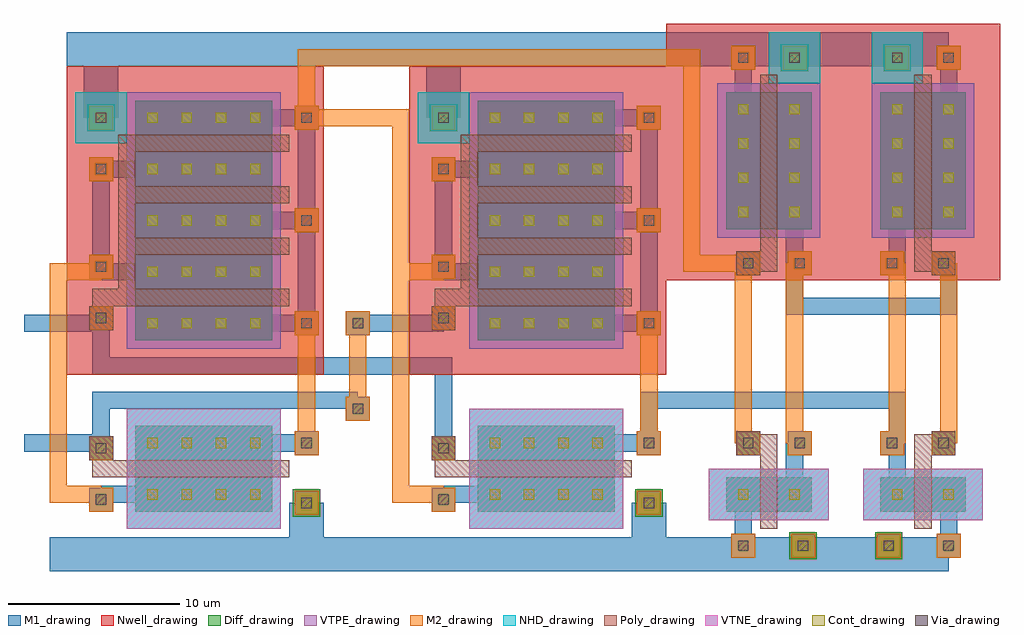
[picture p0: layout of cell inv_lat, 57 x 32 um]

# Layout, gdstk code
from math import pi, radians
import gdstk
lib = gdstk.Library(unit=1e-6, precision=1e-09)
def R(c, l, rs):  # rectangles x0, y0, x1, y1
    for r in rs: c.add(gdstk.rectangle(r[:2], r[2:], *l))
Poly_drawing = (4, 0)
Cont_drawing = (5, 0)
M1_drawing = (6, 0)
Via_drawing = (9, 0)
M2_drawing = (10, 0)
Nwell_drawing = (11, 0)
Diff_drawing = (20, 0)
VTNE_drawing = (30, 0)
VTPE_drawing = (31, 0)
NHD_drawing = (45, 0)

via = lib.new_cell('Via')
R(via, M1_drawing, [(-0.7,-0.7,0.7,0.7)])
R(via, Via_drawing, [(-0.3,-0.3,0.3,0.3)])
R(via, M2_drawing, [(-0.7,-0.7,0.7,0.7)])

dcont = lib.new_cell('dcont')
R(dcont, Cont_drawing, [(-0.3,-0.3,0.3,0.3)])
R(dcont, M1_drawing, [(-0.6,-0.6,0.6,0.6)])
R(dcont, Diff_drawing, [(-0.8,-0.8,0.8,0.8)])

pcont = lib.new_cell('pcont')
R(pcont, Poly_drawing, [(-0.7,-0.7,0.7,0.7)])
R(pcont, Cont_drawing, [(-0.3,-0.3,0.3,0.3)])
R(pcont, M1_drawing, [(-0.6,-0.6,0.6,0.6)])

nsubcont = lib.new_cell('nsubcont')
R(nsubcont, Nwell_drawing, [(-2,-2,2,2)])
R(nsubcont, NHD_drawing, [(-1.5,-1.5,1.5,1.5)])
nsubcont.add(gdstk.Reference(dcont, (0,0)))

pch_9 = lib.new_cell('Pch$9')
R(pch_9, Nwell_drawing, [(-2,-1,16,14)])
R(pch_9, Diff_drawing, [(0,3,14,11)])
R(pch_9, VTPE_drawing, [(-0.5,2.5,14.5,11.5)])
pch_9.add(gdstk.FlexPath([(8.5,2.5),(11.5,2.5)], 1, ends="flush", simple_path=True, layer=4, datatype=0))  # Poly_drawing
pch_9.add(gdstk.FlexPath([(5.5,2.5),(8.5,2.5)], 1, ends="flush", simple_path=True, layer=4, datatype=0))  # Poly_drawing
pch_9.add(gdstk.FlexPath([(2.5,2.5),(5.5,2.5)], 1, ends="flush", simple_path=True, layer=4, datatype=0))  # Poly_drawing
pch_9.add(gdstk.FlexPath([(1,1),(2.5,1),(2.5,2)], 1, ends="flush", simple_path=True, layer=4, datatype=0))  # Poly_drawing
pch_9.add(gdstk.FlexPath([(11.5,3),(11.5,11)], 1, ends=(1, 1), simple_path=True, layer=4, datatype=0))  # Poly_drawing
pch_9.add(gdstk.FlexPath([(8.5,3),(8.5,11)], 1, ends=(1, 1), simple_path=True, layer=4, datatype=0))  # Poly_drawing
pch_9.add(gdstk.FlexPath([(5.5,3),(5.5,11)], 1, ends=(1, 1), simple_path=True, layer=4, datatype=0))  # Poly_drawing
pch_9.add(gdstk.FlexPath([(2.5,3),(2.5,11)], 1, ends=(1, 1), simple_path=True, layer=4, datatype=0))  # Poly_drawing
pch_9.add(gdstk.FlexPath([(7,13),(13,13)], 1, ends="flush", simple_path=True, layer=6, datatype=0))  # M1_drawing
pch_9.add(gdstk.FlexPath([(13,11),(13,13)], 1, ends="flush", simple_path=True, layer=6, datatype=0))  # M1_drawing
pch_9.add(gdstk.FlexPath([(4,1),(10,1)], 1, ends="flush", simple_path=True, layer=6, datatype=0))  # M1_drawing
pch_9.add(gdstk.FlexPath([(10,1),(10,3)], 1, ends="flush", simple_path=True, layer=6, datatype=0))  # M1_drawing
pch_9.add(gdstk.FlexPath([(1,13),(7,13)], 1, ends="flush", simple_path=True, layer=6, datatype=0))  # M1_drawing
pch_9.add(gdstk.FlexPath([(7,11),(7,13)], 1, ends="flush", simple_path=True, layer=6, datatype=0))  # M1_drawing
pch_9.add(gdstk.FlexPath([(4,1),(4,3)], 1, ends="flush", simple_path=True, layer=6, datatype=0))  # M1_drawing
pch_9.add(gdstk.FlexPath([(1,11),(1,13)], 1, ends="flush", simple_path=True, layer=6, datatype=0))  # M1_drawing
pch_9.add(gdstk.FlexPath([(13,3),(13,11)], 2, ends="flush", simple_path=True, layer=6, datatype=0))  # M1_drawing
pch_9.add(gdstk.FlexPath([(10,3),(10,11)], 2, ends="flush", simple_path=True, layer=6, datatype=0))  # M1_drawing
pch_9.add(gdstk.FlexPath([(7,3),(7,11)], 2, ends="flush", simple_path=True, layer=6, datatype=0))  # M1_drawing
pch_9.add(gdstk.FlexPath([(4,3),(4,11)], 2, ends="flush", simple_path=True, layer=6, datatype=0))  # M1_drawing
pch_9.add(gdstk.FlexPath([(1,3),(1,11)], 2, ends="flush", simple_path=True, layer=6, datatype=0))  # M1_drawing
pch_9.add(gdstk.Reference(dcont, (13,10)))
pch_9.add(gdstk.Reference(dcont, (13,8)))
pch_9.add(gdstk.Reference(dcont, (13,6)))
pch_9.add(gdstk.Reference(dcont, (13,4)))
pch_9.add(gdstk.Reference(dcont, (10,10)))
pch_9.add(gdstk.Reference(dcont, (10,8)))
pch_9.add(gdstk.Reference(dcont, (10,6)))
pch_9.add(gdstk.Reference(dcont, (10,4)))
pch_9.add(gdstk.Reference(dcont, (7,10)))
pch_9.add(gdstk.Reference(dcont, (7,8)))
pch_9.add(gdstk.Reference(dcont, (7,6)))
pch_9.add(gdstk.Reference(dcont, (7,4)))
pch_9.add(gdstk.Reference(dcont, (4,10)))
pch_9.add(gdstk.Reference(dcont, (4,8)))
pch_9.add(gdstk.Reference(dcont, (4,6)))
pch_9.add(gdstk.Reference(dcont, (4,4)))
pch_9.add(gdstk.Reference(dcont, (1,10)))
pch_9.add(gdstk.Reference(dcont, (1,8)))
pch_9.add(gdstk.Reference(dcont, (1,6)))
pch_9.add(gdstk.Reference(dcont, (1,4)))
pch_9.add(gdstk.Reference(pcont, (1.3,1)))
pch_9.add(gdstk.Reference(via, (13,1)))
pch_9.add(gdstk.Reference(via, (13,13)))
pch_9.add(gdstk.Reference(via, (10,1)))
pch_9.add(gdstk.Reference(via, (7,13)))
pch_9.add(gdstk.Reference(via, (4.3,1)))
pch_9.add(gdstk.Reference(via, (1,13)))
pch_9.add(gdstk.Reference(via, (1.3,1)))
pch_9.add(gdstk.Reference(nsubcont, (13,1)))

psubcont = lib.new_cell('psubcont')
psubcont.add(gdstk.Reference(dcont, (0,0)))

nch_11 = lib.new_cell('Nch$11')
R(nch_11, Diff_drawing, [(0,3,5,11)])
R(nch_11, NHD_drawing, [(-1,2.5,6,11.5)])
nch_11.add(gdstk.FlexPath([(1,13),(2.5,13),(2.5,12)], 1, ends="flush", simple_path=True, layer=4, datatype=0))  # Poly_drawing
nch_11.add(gdstk.FlexPath([(2.5,3),(2.5,11)], 1, ends=(1, 1), simple_path=True, layer=4, datatype=0))  # Poly_drawing
nch_11.add(gdstk.FlexPath([(4,11),(4,13)], 1, ends="flush", simple_path=True, layer=6, datatype=0))  # M1_drawing
nch_11.add(gdstk.FlexPath([(1,1),(1,3)], 1, ends="flush", simple_path=True, layer=6, datatype=0))  # M1_drawing
nch_11.add(gdstk.FlexPath([(4,3),(4,11)], 2, ends="flush", simple_path=True, layer=6, datatype=0))  # M1_drawing
nch_11.add(gdstk.FlexPath([(1,3),(1,11)], 2, ends="flush", simple_path=True, layer=6, datatype=0))  # M1_drawing
nch_11.add(gdstk.Reference(dcont, (4,10)))
nch_11.add(gdstk.Reference(dcont, (4,8)))
nch_11.add(gdstk.Reference(dcont, (4,6)))
nch_11.add(gdstk.Reference(dcont, (4,4)))
nch_11.add(gdstk.Reference(dcont, (1,10)))
nch_11.add(gdstk.Reference(dcont, (1,8)))
nch_11.add(gdstk.Reference(dcont, (1,6)))
nch_11.add(gdstk.Reference(dcont, (1,4)))
nch_11.add(gdstk.Reference(pcont, (1.3,13)))
nch_11.add(gdstk.Reference(via, (4.5,1)))
nch_11.add(gdstk.Reference(via, (4.3,13)))
nch_11.add(gdstk.Reference(via, (1,1)))
nch_11.add(gdstk.Reference(via, (1.3,13)))
nch_11.add(gdstk.Reference(psubcont, (4.5,1)))

t_gate = lib.new_cell('t_gate')
t_gate.add(gdstk.FlexPath([(-98.5,68),(-101,68),(-101,55),(-98.5,55)], 1, ends="flush", simple_path=True, layer=10, datatype=0))  # M2_drawing
t_gate.add(gdstk.FlexPath([(-86.5,65),(-86.5,58)], 1, ends="flush", simple_path=True, layer=10, datatype=0))  # M2_drawing
t_gate.add(gdstk.Reference(pch_9, (-99.5,64), rotation=pi/2, x_reflection=True))
t_gate.add(gdstk.Reference(nch_11, (-85.5,59), rotation=3*pi/2, x_reflection=True))

pch_8 = lib.new_cell('Pch$8')
R(pch_8, Nwell_drawing, [(-2,0,7,15)])
R(pch_8, Diff_drawing, [(0,3,5,11)])
R(pch_8, VTPE_drawing, [(-0.5,2.5,5.5,11.5)])
pch_8.add(gdstk.FlexPath([(1,1),(2.5,1),(2.5,2)], 1, ends="flush", simple_path=True, layer=4, datatype=0))  # Poly_drawing
pch_8.add(gdstk.FlexPath([(2.5,3),(2.5,11)], 1, ends=(1, 1), simple_path=True, layer=4, datatype=0))  # Poly_drawing
pch_8.add(gdstk.FlexPath([(4,1),(4,3)], 1, ends="flush", simple_path=True, layer=6, datatype=0))  # M1_drawing
pch_8.add(gdstk.FlexPath([(1,11),(1,13)], 1, ends="flush", simple_path=True, layer=6, datatype=0))  # M1_drawing
pch_8.add(gdstk.FlexPath([(4,3),(4,11)], 2, ends="flush", simple_path=True, layer=6, datatype=0))  # M1_drawing
pch_8.add(gdstk.FlexPath([(1,3),(1,11)], 2, ends="flush", simple_path=True, layer=6, datatype=0))  # M1_drawing
pch_8.add(gdstk.Reference(dcont, (4,10)))
pch_8.add(gdstk.Reference(dcont, (4,8)))
pch_8.add(gdstk.Reference(dcont, (4,6)))
pch_8.add(gdstk.Reference(dcont, (4,4)))
pch_8.add(gdstk.Reference(dcont, (1,10)))
pch_8.add(gdstk.Reference(dcont, (1,8)))
pch_8.add(gdstk.Reference(dcont, (1,6)))
pch_8.add(gdstk.Reference(dcont, (1,4)))
pch_8.add(gdstk.Reference(pcont, (1.3,1)))
pch_8.add(gdstk.Reference(via, (4,13)))
pch_8.add(gdstk.Reference(via, (4.3,1)))
pch_8.add(gdstk.Reference(via, (1,13)))
pch_8.add(gdstk.Reference(via, (1.3,1)))
pch_8.add(gdstk.Reference(nsubcont, (4,13)))

nch_8 = lib.new_cell('Nch$8')
R(nch_8, Diff_drawing, [(0,3,5,5)])
R(nch_8, NHD_drawing, [(-1,2.5,6,5.5)])
nch_8.add(gdstk.FlexPath([(1,7),(2.5,7),(2.5,6)], 1, ends="flush", simple_path=True, layer=4, datatype=0))  # Poly_drawing
nch_8.add(gdstk.FlexPath([(2.5,3),(2.5,5)], 1, ends=(1, 1), simple_path=True, layer=4, datatype=0))  # Poly_drawing
nch_8.add(gdstk.FlexPath([(4,5),(4,7)], 1, ends="flush", simple_path=True, layer=6, datatype=0))  # M1_drawing
nch_8.add(gdstk.FlexPath([(1,1),(1,3)], 1, ends="flush", simple_path=True, layer=6, datatype=0))  # M1_drawing
nch_8.add(gdstk.FlexPath([(4,3),(4,5)], 2, ends="flush", simple_path=True, layer=6, datatype=0))  # M1_drawing
nch_8.add(gdstk.FlexPath([(1,3),(1,5)], 2, ends="flush", simple_path=True, layer=6, datatype=0))  # M1_drawing
nch_8.add(gdstk.Reference(dcont, (4,4)))
nch_8.add(gdstk.Reference(dcont, (1,4)))
nch_8.add(gdstk.Reference(pcont, (1.3,7)))
nch_8.add(gdstk.Reference(via, (4.5,1)))
nch_8.add(gdstk.Reference(via, (4.3,7)))
nch_8.add(gdstk.Reference(via, (1,1)))
nch_8.add(gdstk.Reference(via, (1.3,7)))
nch_8.add(gdstk.Reference(psubcont, (4.5,1)))

inv_ph = lib.new_cell('inv_ph')
inv_ph.add(gdstk.FlexPath([(-79,57.5),(-79,47)], 1, ends="flush", simple_path=True, layer=10, datatype=0))  # M2_drawing
inv_ph.add(gdstk.FlexPath([(-82,57.5),(-82,47)], 1, ends="flush", simple_path=True, layer=10, datatype=0))  # M2_drawing
inv_ph.add(gdstk.Reference(pch_8, (-83,56.5)))
inv_ph.add(gdstk.Reference(nch_8, (-83,40)))

inv_lat = lib.new_cell('inv_lat')
R(inv_lat, Nwell_drawing, [(-48,41.5,-46.5,56.5)])
R(inv_lat, VTNE_drawing, [(-79.5,27,-70.5,34), (-59.5,27,-50.5,34), (-45.5,27.5,-38.5,30.5), (-36.5,27.5,-29.5,30.5)])
inv_lat.add(gdstk.FlexPath([(-66,39),(-61,39)], 1, ends="flush", simple_path=True, layer=6, datatype=0))  # M1_drawing
inv_lat.add(gdstk.FlexPath([(-49,32),(-49,34.5),(-34.5,34.5),(-34.5,32)], 1, ends="flush", simple_path=True, layer=6, datatype=0))  # M1_drawing
inv_lat.add(gdstk.FlexPath([(-81,32),(-81,34.5),(-66,34.5)], 1, ends="flush", simple_path=True, layer=6, datatype=0))  # M1_drawing
inv_lat.add(gdstk.FlexPath([(-81,39),(-81,36.5),(-61,36.5),(-61,31.5)], 1, ends="flush", simple_path=True, layer=6, datatype=0))  # M1_drawing
inv_lat.add(gdstk.FlexPath([(-40.5,42.5),(-40.5,40),(-31.5,40),(-31.5,42.5)], 1, ends="flush", simple_path=True, layer=6, datatype=0))  # M1_drawing
inv_lat.add(gdstk.FlexPath([(-81,32),(-85.5,32)], 1, ends="flush", simple_path=True, layer=6, datatype=0))  # M1_drawing
inv_lat.add(gdstk.FlexPath([(-81,39),(-85.5,39)], 1, ends="flush", simple_path=True, layer=6, datatype=0))  # M1_drawing
inv_lat.add(gdstk.FlexPath([(-49,28.5),(-49,25.5)], 2, ends="flush", simple_path=True, layer=6, datatype=0))  # M1_drawing
inv_lat.add(gdstk.FlexPath([(-69,28.5),(-69,25.5)], 2, ends="flush", simple_path=True, layer=6, datatype=0))  # M1_drawing
inv_lat.add(gdstk.FlexPath([(-31.5,25.5),(-84,25.5)], 2, ends="flush", simple_path=True, layer=6, datatype=0))  # M1_drawing
inv_lat.add(gdstk.FlexPath([(-61,51),(-61,55)], 2, ends="flush", simple_path=True, layer=6, datatype=0))  # M1_drawing
inv_lat.add(gdstk.FlexPath([(-81,51),(-81,55)], 2, ends="flush", simple_path=True, layer=6, datatype=0))  # M1_drawing
inv_lat.add(gdstk.FlexPath([(-31.5,55),(-83,55)], 2, ends="flush", simple_path=True, layer=6, datatype=0))  # M1_drawing
inv_lat.add(gdstk.FlexPath([(-69,51),(-63.5,51),(-63.5,42)], 1, ends="flush", simple_path=True, layer=10, datatype=0))  # M2_drawing
inv_lat.add(gdstk.FlexPath([(-69,51),(-69,54.5),(-46.5,54.5),(-46.5,42.5),(-43.5,42.5)], 1, ends="flush", simple_path=True, layer=10, datatype=0))  # M2_drawing
inv_lat.add(gdstk.FlexPath([(-66,39),(-66,34.5)], 1, ends="flush", simple_path=True, layer=10, datatype=0))  # M2_drawing
inv_lat.add(gdstk.Reference(via, (-66,39)))
inv_lat.add(gdstk.Reference(via, (-66,34)))
inv_lat.add(gdstk.Reference(t_gate, (37.5,-26)))
inv_lat.add(gdstk.Reference(t_gate, (17.5,-26)))
inv_lat.add(gdstk.Reference(inv_ph, (-113.5,-15), rotation=pi, x_reflection=True))
inv_lat.add(gdstk.Reference(inv_ph, (38.5,-15)))

lib.write_gds('inv_lat.gds')
